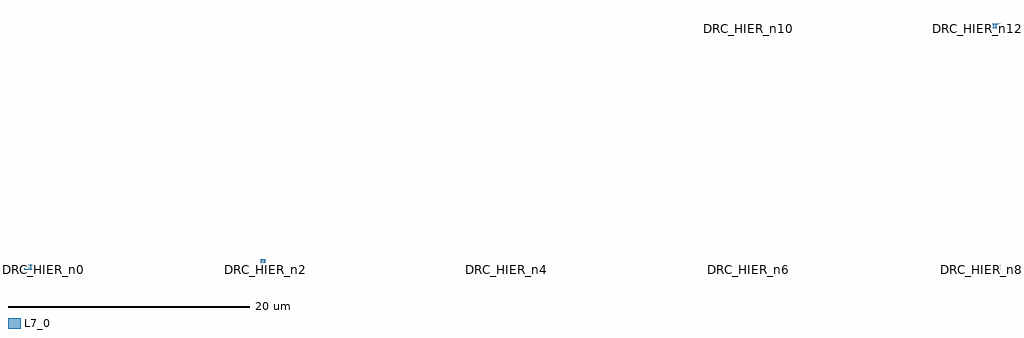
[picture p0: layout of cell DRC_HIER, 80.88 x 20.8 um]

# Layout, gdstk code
from math import pi, radians
import gdstk
lib = gdstk.Library(unit=1e-6, precision=1e-09)
def R(c, l, rs):  # rectangles x0, y0, x1, y1
    for r in rs: c.add(gdstk.rectangle(r[:2], r[2:], *l))
L7_0 = (7, 0)

hier_child = lib.new_cell('HIER_CHILD')
R(hier_child, L7_0, [(0,0,0.4,0.4), (0.48,0,0.88,0.4)])

drc_hier = lib.new_cell('DRC_HIER')
drc_hier.add(gdstk.Reference(hier_child, (0,0)))
drc_hier.add(gdstk.Reference(hier_child, (20,0), rotation=pi/2))
drc_hier.add(gdstk.Reference(hier_child, (40,0), x_reflection=True))
r = gdstk.Reference(hier_child, (60,0)); r.repetition = gdstk.Repetition(2, 2, v1=(20,0), v2=(0,20)); drc_hier.add(r)
drc_hier.add(gdstk.Label('DRC_HIER_n0', (0,0), layer=7, texttype=5))
drc_hier.add(gdstk.Label('DRC_HIER_n1', (0.48,0), layer=7, texttype=5))
drc_hier.add(gdstk.Label('DRC_HIER_n2', (20,0), layer=7, texttype=5))
drc_hier.add(gdstk.Label('DRC_HIER_n3', (20,0.48), layer=7, texttype=5))
drc_hier.add(gdstk.Label('DRC_HIER_n4', (40,0), layer=7, texttype=5))
drc_hier.add(gdstk.Label('DRC_HIER_n5', (40.48,0), layer=7, texttype=5))
drc_hier.add(gdstk.Label('DRC_HIER_n6', (60,0), layer=7, texttype=5))
drc_hier.add(gdstk.Label('DRC_HIER_n7', (60.48,0), layer=7, texttype=5))
drc_hier.add(gdstk.Label('DRC_HIER_n8', (80,0), layer=7, texttype=5))
drc_hier.add(gdstk.Label('DRC_HIER_n9', (80.48,0), layer=7, texttype=5))
drc_hier.add(gdstk.Label('DRC_HIER_n10', (60,20), layer=7, texttype=5))
drc_hier.add(gdstk.Label('DRC_HIER_n11', (60.48,20), layer=7, texttype=5))
drc_hier.add(gdstk.Label('DRC_HIER_n12', (80,20), layer=7, texttype=5))
drc_hier.add(gdstk.Label('DRC_HIER_n13', (80.48,20), layer=7, texttype=5))

lib.write_gds('DRC_HIER.gds')
